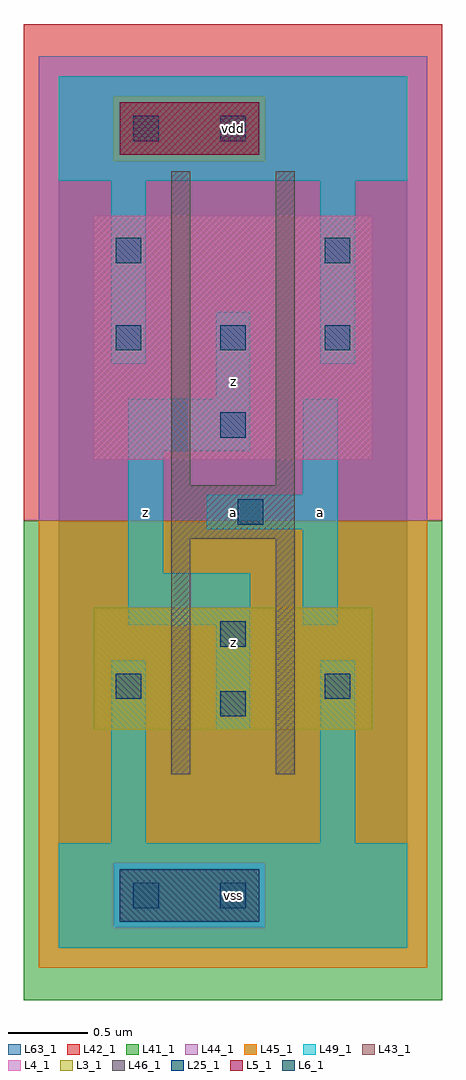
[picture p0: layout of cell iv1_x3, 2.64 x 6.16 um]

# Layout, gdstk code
import gdstk
lib = gdstk.Library(unit=1e-6, precision=1e-09)
def R(c, l, rs):  # rectangles x0, y0, x1, y1
    for r in rs: c.add(gdstk.rectangle(r[:2], r[2:], *l))
def A(c, l, x, y, w, h, nx, ny, dx, dy):  # array of equal rectangles
    R(c, l, [(x+i*dx, y+j*dy, x+i*dx+w, y+j*dy+h) for i in range(nx) for j in range(ny)])
L3_1 = (3, 1)
L4_1 = (4, 1)
L5_1 = (5, 1)
L6_1 = (6, 1)
L25_1 = (25, 1)
L41_1 = (41, 1)
L42_1 = (42, 1)
L43_1 = (43, 1)
L44_1 = (44, 1)
L45_1 = (45, 1)
L46_1 = (46, 1)
L49_1 = (49, 1)
L63_1 = (63, 1)

iv1_x3 = lib.new_cell('iv1_x3')
R(iv1_x3, L3_1, [(0.22,1.375,1.98,2.145)])
R(iv1_x3, L4_1, [(0.22,3.08,1.98,4.62)])
R(iv1_x3, L5_1, [(0.385,5.005,1.265,5.335)])
R(iv1_x3, L6_1, [(0.385,0.165,1.265,0.495)])
A(iv1_x3, L25_1, 0.36, 3.77, 0.16, 0.16, 3, 1, 0.66, 0)
R(iv1_x3, L25_1, [(0.47,0.25,0.63,0.41), (1.02,0.25,1.18,0.41), (1.02,1.46,1.18,1.62), (0.36,1.57,0.52,1.73), (1.68,1.57,1.84,1.73), (1.02,1.9,1.18,2.06), (1.13,2.67,1.29,2.83), (1.02,3.22,1.18,3.38), (0.36,4.32,0.52,4.48), (1.68,4.32,1.84,4.48), (0.47,5.09,0.63,5.25), (1.02,5.09,1.18,5.25)])
R(iv1_x3, L41_1, [(-0.22,-0.33,2.42,2.695)])
R(iv1_x3, L42_1, [(-0.22,2.695,2.42,5.83)])
R(iv1_x3, L43_1, [(0.385,0.165,1.265,0.495), (0.22,1.375,1.98,2.145), (0.22,3.08,1.98,4.62), (0.385,5.005,1.265,5.335)])
R(iv1_x3, L44_1, [(0.345,0.125,1.305,0.535), (-0.125,2.695,2.325,4.965), (-0.125,4.965,0.345,5.375), (1.305,4.965,2.325,5.375), (-0.125,5.375,2.325,5.625)])
R(iv1_x3, L45_1, [(-0.125,-0.125,2.325,0.125), (-0.125,0.125,0.345,0.535), (1.305,0.125,2.325,0.535), (-0.125,0.535,2.325,2.695), (0.345,4.965,1.305,5.375)])
R(iv1_x3, L46_1, [(0.71,1.095,0.83,2.58), (1.37,1.095,1.49,2.58), (0.71,2.58,1.49,2.92), (0.71,2.92,0.83,4.9), (1.37,2.92,1.49,4.9)])
R(iv1_x3, L49_1, [(0,0,2.2,0.66), (0.33,0.66,0.55,1.815), (1.65,0.66,1.87,1.815), (0.99,1.375,1.21,2.035), (0.44,2.035,1.21,2.365), (1.54,2.035,1.76,2.64), (0.44,2.365,0.66,3.135), (0.935,2.64,1.76,2.86), (1.54,2.86,1.76,3.465), (0.44,3.135,1.21,3.465), (0.99,3.465,1.21,4.015), (0.33,3.685,0.55,4.84), (1.65,3.685,1.87,4.84), (0,4.84,2.2,5.5)])
R(iv1_x3, L63_1, [(0,0,2.2,5.5)])
iv1_x3.add(gdstk.Label('z', (0.55,2.75), layer=49, texttype=1))
iv1_x3.add(gdstk.Label('z', (0.55,2.75), layer=49, texttype=1))
iv1_x3.add(gdstk.Label('vss', (1.1,0.33), layer=49, texttype=1))
iv1_x3.add(gdstk.Label('vss', (1.1,0.33), layer=49, texttype=1))
iv1_x3.add(gdstk.Label('z', (1.1,1.925), layer=49, texttype=1))
iv1_x3.add(gdstk.Label('z', (1.1,1.925), layer=49, texttype=1))
iv1_x3.add(gdstk.Label('a', (1.1,2.75), layer=49, texttype=1))
iv1_x3.add(gdstk.Label('a', (1.1,2.75), layer=49, texttype=1))
iv1_x3.add(gdstk.Label('z', (1.1,3.575), layer=49, texttype=1))
iv1_x3.add(gdstk.Label('z', (1.1,3.575), layer=49, texttype=1))
iv1_x3.add(gdstk.Label('vdd', (1.1,5.17), layer=49, texttype=1))
iv1_x3.add(gdstk.Label('vdd', (1.1,5.17), layer=49, texttype=1))
iv1_x3.add(gdstk.Label('a', (1.65,2.75), layer=49, texttype=1))
iv1_x3.add(gdstk.Label('a', (1.65,2.75), layer=49, texttype=1))

lib.write_gds('iv1_x3.gds')
